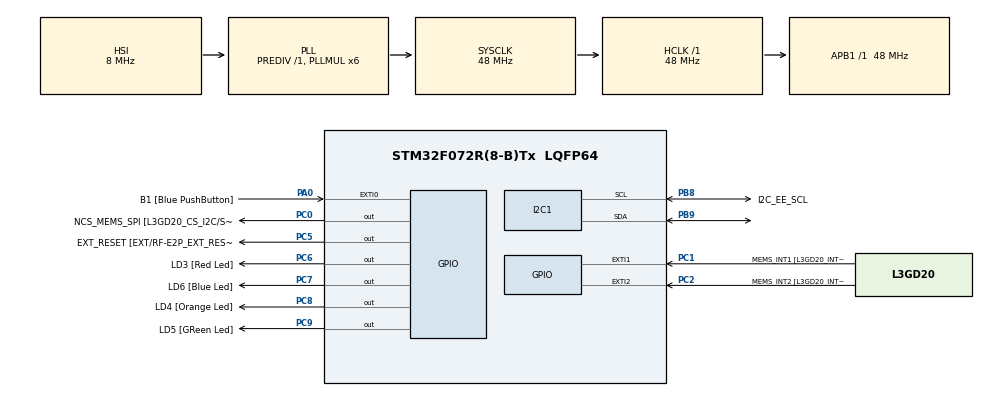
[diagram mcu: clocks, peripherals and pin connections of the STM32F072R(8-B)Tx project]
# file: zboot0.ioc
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I2C1.Timing=0x2000090E
Mcu.Family=STM32F0
Mcu.Name=STM32F072R(8-B)Tx
Mcu.Package=LQFP64
PA0.GPIO_Label=B1 [Blue PushButton]
PA0.GPIO_ModeDefaultEXTI=GPIO_MODE_EVT_RISING
PA0.Signal=GPXTI0
PA11.GPIO_Label=USBF4_DM
PA11.Signal=USB_DM
PA12.GPIO_Label=USBF4_DP
PA12.Signal=USB_DP
PA13.GPIO_Label=SWDIO
PA13.Signal=SYS_SWDIO
PA14.GPIO_Label=SWCLK
PA14.Signal=SYS_SWCLK
PA2.Signal=TSC_G1_IO3
PA3.Signal=TSC_G1_IO4
PA6.Signal=TSC_G2_IO3
PA7.Signal=TSC_G2_IO4
PB0.Signal=TSC_G3_IO2
PB1.Signal=TSC_G3_IO3
PB10.GPIO_Label=I2C2_SCL[EXT/RF-E2P_SCL]
PB10.Signal=I2C2_SCL
PB11.GPIO_Label=I2C2_SDA[EXT/RF-E2P_SDA]
PB11.Signal=I2C2_SDA
PB13.GPIO_Label=SPI2_SCK [L3GD20_SCL/SPC]
PB13.Signal=SPI2_SCK
PB14.GPIO_Label=SPI2_MISO [L3GD20_SDO]
PB14.Signal=SPI2_MISO
PB15.GPIO_Label=SPI2_MOSI [L3GD20_SDA/SDI]
PB15.Signal=SPI2_MOSI
PB8.GPIO_Label=I2C_EE_SCL
PB8.GPIO_PuPdOD=GPIO_NOPULL
PB8.Mode=I2C
PB8.Signal=I2C1_SCL
PB9.GPIO_PuPdOD=GPIO_NOPULL
PB9.Mode=I2C
PB9.Signal=I2C1_SDA
PC0.GPIO_Label=NCS_MEMS_SPI [L3GD20_CS_I2C/SPI]
PC0.Signal=GPIO_Output
PC1.GPIO_Label=MEMS_INT1 [L3GD20_INT1]
PC1.GPIO_ModeDefaultEXTI=GPIO_MODE_EVT_RISING
PC1.Signal=GPXTI1
PC2.GPIO_Label=MEMS_INT2 [L3GD20_INT2]
PC2.GPIO_ModeDefaultEXTI=GPIO_MODE_EVT_RISING
PC2.Signal=GPXTI2
PC5.GPIO_Label=EXT_RESET [EXT/RF-E2P_EXT_RESET]
PC5.Signal=GPIO_Output
PC6.GPIO_Label=LD3 [Red Led]
PC6.Signal=GPIO_Output
PC7.GPIO_Label=LD6 [Blue Led]
PC7.Signal=GPIO_Output
PC8.GPIO_Label=LD4 [Orange Led]
PC8.Signal=GPIO_Output
PC9.GPIO_Label=LD5 [GReen Led]
PC9.Signal=GPIO_Output
ProjectManager.HeapSize=0x200
ProjectManager.StackSize=0x400
ProjectManager.TargetToolchain=MDK-ARM V5
RCC.AHBFreq_Value=48000000
RCC.APB1Freq_Value=48000000
RCC.APB1TimFreq_Value=48000000
RCC.HCLKFreq_Value=48000000
RCC.PLLMUL=RCC_PLL_MUL6
RCC.SYSCLKFreq_VALUE=48000000
RCC.SYSCLKSource=RCC_SYSCLKSOURCE_PLLCLK
board=STM32F072B-DISCO

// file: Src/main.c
/**
  ******************************************************************************
  * File Name          : main.c
  * Description        : Main program body
  ******************************************************************************
  *
  * COPYRIGHT(c) 2016 STMicroelectronics
  *
  * Redistribution and use in source and binary forms, with or without modification,
  * are permitted provided that the following conditions are met:
  *   1. Redistributions of source code must retain the above copyright notice,
  *      this list of conditions and the following disclaimer.
  *   2. Redistributions in binary form must reproduce the above copyright notice,
  *      this list of conditions and the following disclaimer in the documentation
  *      and/or other materials provided with the distribution.
  *   3. Neither the name of STMicroelectronics nor the names of its contributors
  *      may be used to endorse or promote products derived from this software
  *      without specific prior written permission.
  *
  * THIS SOFTWARE IS PROVIDED BY THE COPYRIGHT HOLDERS AND CONTRIBUTORS "AS IS"
  * AND ANY EXPRESS OR IMPLIED WARRANTIES, INCLUDING, BUT NOT LIMITED TO, THE
  * IMPLIED WARRANTIES OF MERCHANTABILITY AND FITNESS FOR A PARTICULAR PURPOSE ARE
  * DISCLAIMED. IN NO EVENT SHALL THE COPYRIGHT HOLDER OR CONTRIBUTORS BE LIABLE
  * FOR ANY DIRECT, INDIRECT, INCIDENTAL, SPECIAL, EXEMPLARY, OR CONSEQUENTIAL
  * DAMAGES (INCLUDING, BUT NOT LIMITED TO, PROCUREMENT OF SUBSTITUTE GOODS OR
  * SERVICES; LOSS OF USE, DATA, OR PROFITS; OR BUSINESS INTERRUPTION) HOWEVER
  * CAUSED AND ON ANY THEORY OF LIABILITY, WHETHER IN CONTRACT, STRICT LIABILITY,
  * OR TORT (INCLUDING NEGLIGENCE OR OTHERWISE) ARISING IN ANY WAY OUT OF THE USE
  * OF THIS SOFTWARE, EVEN IF ADVISED OF THE POSSIBILITY OF SUCH DAMAGE.
  *
  ******************************************************************************
  */
#include "main.h"
#include "stm32f0xx_hal.h"

/* USER CODE BEGIN Includes */
#include "bootconfig.h"
typedef  void (*pFunction)(void);
pFunction Jump_To_Application_Function;
uint32_t JumpAddress;

/* USER CODE END Includes */

I2C_HandleTypeDef hi2c1;

/* USER CODE BEGIN PV */
/* Private variables ---------------------------------------------------------*/

/* USER CODE END PV */

void SystemClock_Config(void);
void Error_Handler(void);
static void MX_GPIO_Init(void);
static void MX_I2C1_Init(void);

/* USER CODE BEGIN PFP */
/* Private function prototypes -----------------------------------------------*/
void dummy_main_function(void);

/* USER CODE END PFP */

/* USER CODE BEGIN 0 */
int8_t BootloadResult(int8_t flag)
{
   return flag;
}
#define RED_LED_ON() HAL_GPIO_WritePin(LD3_GPIO_Port, LD3_Pin, GPIO_PIN_SET )
#define RED_LED_OFF() HAL_GPIO_WritePin(LD3_GPIO_Port, LD3_Pin, GPIO_PIN_RESET )
#define GREEN_LED_ON() HAL_GPIO_WritePin(LD5_GPIO_Port, LD5_Pin, GPIO_PIN_SET )
#define GREEN_LED_OFF() HAL_GPIO_WritePin(LD5_GPIO_Port, LD5_Pin, GPIO_PIN_RESET )
#define BLUE_LED_ON() HAL_GPIO_WritePin(LD6_GPIO_Port, LD6_Pin, GPIO_PIN_SET )
#define BLUE_LED_OFF() HAL_GPIO_WritePin(LD6_GPIO_Port, LD6_Pin, GPIO_PIN_RESET )

void jump_to_application(void)
{
extern pFunction Jump_To_Application_Function;
extern uint32_t JumpAddress;
extern uint32_t const dummy_vector_table[2];
    /* Test if user code is programmed starting from address "APPLICATION_ADDRESS" */
#ifdef Uses_DUMMY_MAIN
    if ( (uint32_t) &dummy_vector_table == APPLICATION_ADDRESS ) // use this to prevent dummy_vector_table ignored by linker
#endif
    if (((*(__IO uint32_t*)APPLICATION_ADDRESS) & 0x2FFE0000 ) == 0x20000000) // check stack pointer in the SRAM address
    {
      /* Jump to user application */
      JumpAddress = *(__IO uint32_t*) (APPLICATION_ADDRESS + 4);
      Jump_To_Application_Function = (pFunction) JumpAddress;

      /* Initialize user application's Stack Pointer */
      __set_MSP(*(__IO uint32_t*) APPLICATION_ADDRESS);

      /* Jump to application */
      Jump_To_Application_Function();
    }
}

void dummy_main_function(void)
{
   // This is the dummy main program embedded in the bootloader.
   // It will be replaced when application loaded by bootloader.
   while(1) {
#ifdef Uses_DUMMY_MAIN
     HAL_Delay(100);
     HAL_GPIO_TogglePin(LD3_GPIO_Port, LD3_Pin);
     HAL_Delay(100);
     HAL_GPIO_TogglePin(LD4_GPIO_Port, LD4_Pin);
     HAL_Delay(100);
     HAL_GPIO_TogglePin(LD5_GPIO_Port, LD5_Pin);
     HAL_Delay(100);
     HAL_GPIO_TogglePin(LD6_GPIO_Port, LD6_Pin);
#endif
   }
}

int8_t IsNewProgramAvailable(void)
{
   // check if I2C is plugged in by I2C SCL pull-up pin
   return HAL_GPIO_ReadPin( I2C_EE_SCL_GPIO_Port, I2C_EE_SCL_Pin ) == GPIO_PIN_SET;
}
void Message_Boot_OK(void)
{
   while(1) { // green
      HAL_GPIO_TogglePin(LD5_GPIO_Port, LD5_Pin);
      HAL_Delay(100);
   }
}
void Message_Boot_Failed(void)
{
   while(1) { // red
      HAL_GPIO_TogglePin(LD3_GPIO_Port, LD3_Pin);
      HAL_Delay(100);
   }
}
/* USER CODE END 0 */

int main(void)
{

  /* MCU Configuration----------------------------------------------------------*/

  /* Reset of all peripherals, Initializes the Flash interface and the Systick. */
  HAL_Init();

  /* Configure the system clock */
  SystemClock_Config();

  /* Initialize all configured peripherals */
  MX_GPIO_Init();
  MX_I2C1_Init();

  /* USER CODE BEGIN 2 */
  if ( IsNewProgramAvailable()) {
     if ( BootloadResult( BootLoader())) {
        Message_Boot_OK();
     } else {
        Message_Boot_Failed();
     }
  }
   jump_to_application();
  /* USER CODE END 2 */

  /* Infinite loop */
  while (1)
  {

  }

}

/** System Clock Configuration
*/
void SystemClock_Config(void)
{

  RCC_OscInitTypeDef RCC_OscInitStruct;
  RCC_ClkInitTypeDef RCC_ClkInitStruct;
  RCC_PeriphCLKInitTypeDef PeriphClkInit;

    /**Initializes the CPU, AHB and APB busses clocks
    */
  RCC_OscInitStruct.OscillatorType = RCC_OSCILLATORTYPE_HSI;
  RCC_OscInitStruct.HSIState = RCC_HSI_ON;
  RCC_OscInitStruct.HSICalibrationValue = 16;
  RCC_OscInitStruct.PLL.PLLState = RCC_PLL_ON;
  RCC_OscInitStruct.PLL.PLLSource = RCC_PLLSOURCE_HSI;
  RCC_OscInitStruct.PLL.PLLMUL = RCC_PLL_MUL6;
  RCC_OscInitStruct.PLL.PREDIV = RCC_PREDIV_DIV1;
  if (HAL_RCC_OscConfig(&RCC_OscInitStruct) != HAL_OK)
  {
    Error_Handler();
  }

    /**Initializes the CPU, AHB and APB busses clocks
    */
  RCC_ClkInitStruct.ClockType = RCC_CLOCKTYPE_HCLK|RCC_CLOCKTYPE_SYSCLK
                              |RCC_CLOCKTYPE_PCLK1;
  RCC_ClkInitStruct.SYSCLKSource = RCC_SYSCLKSOURCE_PLLCLK;
  RCC_ClkInitStruct.AHBCLKDivider = RCC_SYSCLK_DIV1;
  RCC_ClkInitStruct.APB1CLKDivider = RCC_HCLK_DIV1;

  if (HAL_RCC_ClockConfig(&RCC_ClkInitStruct, FLASH_LATENCY_1) != HAL_OK)
  {
    Error_Handler();
  }

  PeriphClkInit.PeriphClockSelection = RCC_PERIPHCLK_I2C1;
  PeriphClkInit.I2c1ClockSelection = RCC_I2C1CLKSOURCE_HSI;
  if (HAL_RCCEx_PeriphCLKConfig(&PeriphClkInit) != HAL_OK)
  {
    Error_Handler();
  }

    /**Configure the Systick interrupt time
    */
  HAL_SYSTICK_Config(HAL_RCC_GetHCLKFreq()/1000);

    /**Configure the Systick
    */
  HAL_SYSTICK_CLKSourceConfig(SYSTICK_CLKSOURCE_HCLK);

  /* SysTick_IRQn interrupt configuration */
  HAL_NVIC_SetPriority(SysTick_IRQn, 0, 0);
}

/* I2C1 init function */
static void MX_I2C1_Init(void)
{

  hi2c1.Instance = I2C1;
  hi2c1.Init.Timing = 0x2000090E;
  hi2c1.Init.OwnAddress1 = 0;
  hi2c1.Init.AddressingMode = I2C_ADDRESSINGMODE_7BIT;
  hi2c1.Init.DualAddressMode = I2C_DUALADDRESS_DISABLE;
  hi2c1.Init.OwnAddress2 = 0;
  hi2c1.Init.OwnAddress2Masks = I2C_OA2_NOMASK;
  hi2c1.Init.GeneralCallMode = I2C_GENERALCALL_DISABLE;
  hi2c1.Init.NoStretchMode = I2C_NOSTRETCH_DISABLE;
  if (HAL_I2C_Init(&hi2c1) != HAL_OK)
  {
    Error_Handler();
  }

    /**Configure Analogue filter
    */
  if (HAL_I2CEx_ConfigAnalogFilter(&hi2c1, I2C_ANALOGFILTER_ENABLE) != HAL_OK)
  {
    Error_Handler();
  }

}

/** Configure pins as
        * Analog
        * Input
        * Output
        * EVENT_OUT
        * EXTI
     PA2   ------> TSC_G1_IO3
     PA3   ------> TSC_G1_IO4
     PA6   ------> TSC_G2_IO3
     PA7   ------> TSC_G2_IO4
     PB0   ------> TSC_G3_IO2
     PB1   ------> TSC_G3_IO3
     PB10   ------> I2C2_SCL
     PB11   ------> I2C2_SDA
     PB13   ------> SPI2_SCK
     PB14   ------> SPI2_MISO
     PB15   ------> SPI2_MOSI
*/
static void MX_GPIO_Init(void)
{

  GPIO_InitTypeDef GPIO_InitStruct;

  /* GPIO Ports Clock Enable */
  __HAL_RCC_GPIOC_CLK_ENABLE();
  __HAL_RCC_GPIOA_CLK_ENABLE();
  __HAL_RCC_GPIOB_CLK_ENABLE();

  /*Configure GPIO pin Output Level */
  HAL_GPIO_WritePin(GPIOC, NCS_MEMS_SPI_Pin|EXT_RESET_Pin|LD3_Pin|LD6_Pin
                          |LD4_Pin|LD5_Pin, GPIO_PIN_RESET);

  /*Configure GPIO pins : NCS_MEMS_SPI_Pin EXT_RESET_Pin LD3_Pin LD6_Pin
                           LD4_Pin LD5_Pin */
  GPIO_InitStruct.Pin = NCS_MEMS_SPI_Pin|EXT_RESET_Pin|LD3_Pin|LD6_Pin
                          |LD4_Pin|LD5_Pin;
  GPIO_InitStruct.Mode = GPIO_MODE_OUTPUT_PP;
  GPIO_InitStruct.Pull = GPIO_NOPULL;
  GPIO_InitStruct.Speed = GPIO_SPEED_FREQ_LOW;
  HAL_GPIO_Init(GPIOC, &GPIO_InitStruct);

  /*Configure GPIO pins : MEMS_INT1_Pin MEMS_INT2_Pin */
  GPIO_InitStruct.Pin = MEMS_INT1_Pin|MEMS_INT2_Pin;
  GPIO_InitStruct.Mode = GPIO_MODE_EVT_RISING;
  GPIO_InitStruct.Pull = GPIO_NOPULL;
  HAL_GPIO_Init(GPIOC, &GPIO_InitStruct);

  /*Configure GPIO pin : B1_Pin */
  GPIO_InitStruct.Pin = B1_Pin;
  GPIO_InitStruct.Mode = GPIO_MODE_EVT_RISING;
  GPIO_InitStruct.Pull = GPIO_NOPULL;
  HAL_GPIO_Init(B1_GPIO_Port, &GPIO_InitStruct);

  /*Configure GPIO pins : PA2 PA3 PA6 PA7 */
  GPIO_InitStruct.Pin = GPIO_PIN_2|GPIO_PIN_3|GPIO_PIN_6|GPIO_PIN_7;
  GPIO_InitStruct.Mode = GPIO_MODE_AF_PP;
  GPIO_InitStruct.Pull = GPIO_NOPULL;
  GPIO_InitStruct.Speed = GPIO_SPEED_FREQ_LOW;
  GPIO_InitStruct.Alternate = GPIO_AF3_TSC;
  HAL_GPIO_Init(GPIOA, &GPIO_InitStruct);

  /*Configure GPIO pins : PB0 PB1 */
  GPIO_InitStruct.Pin = GPIO_PIN_0|GPIO_PIN_1;
  GPIO_InitStruct.Mode = GPIO_MODE_AF_PP;
  GPIO_InitStruct.Pull = GPIO_NOPULL;
  GPIO_InitStruct.Speed = GPIO_SPEED_FREQ_LOW;
  GPIO_InitStruct.Alternate = GPIO_AF3_TSC;
  HAL_GPIO_Init(GPIOB, &GPIO_InitStruct);

  /*Configure GPIO pins : PB10 PB11 */
  GPIO_InitStruct.Pin = GPIO_PIN_10|GPIO_PIN_11;
  GPIO_InitStruct.Mode = GPIO_MODE_AF_OD;
  GPIO_InitStruct.Pull = GPIO_PULLUP;
  GPIO_InitStruct.Speed = GPIO_SPEED_FREQ_HIGH;
  GPIO_InitStruct.Alternate = GPIO_AF1_I2C2;
  HAL_GPIO_Init(GPIOB, &GPIO_InitStruct);

  /*Configure GPIO pins : PB13 PB14 PB15 */
  GPIO_InitStruct.Pin = GPIO_PIN_13|GPIO_PIN_14|GPIO_PIN_15;
  GPIO_InitStruct.Mode = GPIO_MODE_AF_PP;
  GPIO_InitStruct.Pull = GPIO_NOPULL;
  GPIO_InitStruct.Speed = GPIO_SPEED_FREQ_HIGH;
  GPIO_InitStruct.Alternate = GPIO_AF0_SPI2;
  HAL_GPIO_Init(GPIOB, &GPIO_InitStruct);

}

void Error_Handler(void)
{
  while(1)
  {
  }
}

/************************ (C) COPYRIGHT STMicroelectronics *****END OF FILE****/
